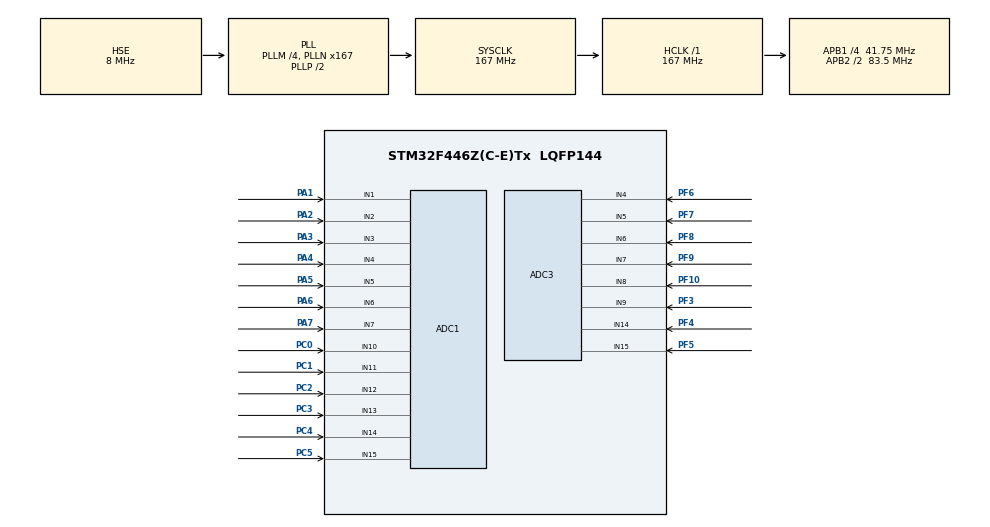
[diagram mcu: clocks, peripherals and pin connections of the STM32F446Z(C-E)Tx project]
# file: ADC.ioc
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ADC1.Channel-0\#ChannelRegularConversion=ADC_CHANNEL_10
ADC1.Channel-1\#ChannelRegularConversion=ADC_CHANNEL_11
ADC1.Channel-10\#ChannelRegularConversion=ADC_CHANNEL_7
ADC1.Channel-11\#ChannelRegularConversion=ADC_CHANNEL_14
ADC1.Channel-12\#ChannelRegularConversion=ADC_CHANNEL_15
ADC1.Channel-2\#ChannelRegularConversion=ADC_CHANNEL_12
ADC1.Channel-3\#ChannelRegularConversion=ADC_CHANNEL_13
ADC1.Channel-4\#ChannelRegularConversion=ADC_CHANNEL_1
ADC1.Channel-5\#ChannelRegularConversion=ADC_CHANNEL_2
ADC1.Channel-6\#ChannelRegularConversion=ADC_CHANNEL_3
ADC1.Channel-7\#ChannelRegularConversion=ADC_CHANNEL_4
ADC1.Channel-8\#ChannelRegularConversion=ADC_CHANNEL_5
ADC1.Channel-9\#ChannelRegularConversion=ADC_CHANNEL_6
ADC1.ContinuousConvMode=ENABLE
ADC1.NbrOfConversion=13
ADC1.NbrOfConversionFlag=1
ADC1.Rank-0\#ChannelRegularConversion=1
ADC1.Rank-1\#ChannelRegularConversion=2
ADC1.Rank-10\#ChannelRegularConversion=11
ADC1.Rank-11\#ChannelRegularConversion=12
ADC1.Rank-12\#ChannelRegularConversion=13
ADC1.Rank-2\#ChannelRegularConversion=3
ADC1.Rank-3\#ChannelRegularConversion=4
ADC1.Rank-4\#ChannelRegularConversion=5
ADC1.Rank-5\#ChannelRegularConversion=6
ADC1.Rank-6\#ChannelRegularConversion=7
ADC1.Rank-7\#ChannelRegularConversion=8
ADC1.Rank-8\#ChannelRegularConversion=9
ADC1.Rank-9\#ChannelRegularConversion=10
ADC1.SamplingTime-0\#ChannelRegularConversion=ADC_SAMPLETIME_3CYCLES
ADC1.SamplingTime-1\#ChannelRegularConversion=ADC_SAMPLETIME_3CYCLES
ADC1.SamplingTime-10\#ChannelRegularConversion=ADC_SAMPLETIME_3CYCLES
ADC1.SamplingTime-11\#ChannelRegularConversion=ADC_SAMPLETIME_3CYCLES
ADC1.SamplingTime-12\#ChannelRegularConversion=ADC_SAMPLETIME_3CYCLES
ADC1.SamplingTime-2\#ChannelRegularConversion=ADC_SAMPLETIME_3CYCLES
ADC1.SamplingTime-3\#ChannelRegularConversion=ADC_SAMPLETIME_3CYCLES
ADC1.SamplingTime-4\#ChannelRegularConversion=ADC_SAMPLETIME_3CYCLES
ADC1.SamplingTime-5\#ChannelRegularConversion=ADC_SAMPLETIME_3CYCLES
ADC1.SamplingTime-6\#ChannelRegularConversion=ADC_SAMPLETIME_3CYCLES
ADC1.SamplingTime-7\#ChannelRegularConversion=ADC_SAMPLETIME_3CYCLES
ADC1.SamplingTime-8\#ChannelRegularConversion=ADC_SAMPLETIME_3CYCLES
ADC1.SamplingTime-9\#ChannelRegularConversion=ADC_SAMPLETIME_3CYCLES
ADC1.ScanConvMode=ENABLE
ADC1.master=1
ADC3.Channel-2\#ChannelRegularConversion=ADC_CHANNEL_9
ADC3.Channel-3\#ChannelRegularConversion=ADC_CHANNEL_14
ADC3.Channel-4\#ChannelRegularConversion=ADC_CHANNEL_15
ADC3.Channel-5\#ChannelRegularConversion=ADC_CHANNEL_4
ADC3.Channel-6\#ChannelRegularConversion=ADC_CHANNEL_5
ADC3.Channel-7\#ChannelRegularConversion=ADC_CHANNEL_6
ADC3.Channel-8\#ChannelRegularConversion=ADC_CHANNEL_7
ADC3.Channel-9\#ChannelRegularConversion=ADC_CHANNEL_8
ADC3.NbrOfConversion=8
ADC3.NbrOfConversionFlag=1
ADC3.Rank-2\#ChannelRegularConversion=1
ADC3.Rank-3\#ChannelRegularConversion=2
ADC3.Rank-4\#ChannelRegularConversion=3
ADC3.Rank-5\#ChannelRegularConversion=4
ADC3.Rank-6\#ChannelRegularConversion=5
ADC3.Rank-7\#ChannelRegularConversion=6
ADC3.Rank-8\#ChannelRegularConversion=7
ADC3.Rank-9\#ChannelRegularConversion=8
ADC3.SamplingTime-2\#ChannelRegularConversion=ADC_SAMPLETIME_3CYCLES
ADC3.SamplingTime-3\#ChannelRegularConversion=ADC_SAMPLETIME_3CYCLES
ADC3.SamplingTime-4\#ChannelRegularConversion=ADC_SAMPLETIME_3CYCLES
ADC3.SamplingTime-5\#ChannelRegularConversion=ADC_SAMPLETIME_3CYCLES
ADC3.SamplingTime-6\#ChannelRegularConversion=ADC_SAMPLETIME_3CYCLES
ADC3.SamplingTime-7\#ChannelRegularConversion=ADC_SAMPLETIME_3CYCLES
ADC3.SamplingTime-8\#ChannelRegularConversion=ADC_SAMPLETIME_3CYCLES
ADC3.SamplingTime-9\#ChannelRegularConversion=ADC_SAMPLETIME_3CYCLES
Mcu.Family=STM32F4
Mcu.Name=STM32F446Z(C-E)Tx
Mcu.Package=LQFP144
NVIC.PriorityGroup=NVIC_PRIORITYGROUP_4
PA1.Signal=ADCx_IN1
PA2.Signal=ADCx_IN2
PA3.Signal=ADCx_IN3
PA4.Signal=ADCx_IN4
PA5.Signal=ADCx_IN5
PA6.Signal=ADCx_IN6
PA7.Signal=ADCx_IN7
PC0.Signal=ADCx_IN10
PC1.Signal=ADCx_IN11
PC2.Signal=ADCx_IN12
PC3.Signal=ADCx_IN13
PC4.Signal=ADCx_IN14
PC5.Signal=ADCx_IN15
PF10.Mode=IN8
PF10.Signal=ADC3_IN8
PF3.Mode=IN9
PF3.Signal=ADC3_IN9
PF4.Mode=IN14
PF4.Signal=ADC3_IN14
PF5.Mode=IN15
PF5.Signal=ADC3_IN15
PF6.Mode=IN4
PF6.Signal=ADC3_IN4
PF7.Mode=IN5
PF7.Signal=ADC3_IN5
PF8.Mode=IN6
PF8.Signal=ADC3_IN6
PF9.Mode=IN7
PF9.Signal=ADC3_IN7
PH0-OSC_IN.Mode=HSE-External-Oscillator
PH0-OSC_IN.Signal=RCC_OSC_IN
PH1-OSC_OUT.Mode=HSE-External-Oscillator
PH1-OSC_OUT.Signal=RCC_OSC_OUT
ProjectManager.HeapSize=0x200
ProjectManager.StackSize=0x400
ProjectManager.TargetToolchain=STM32CubeIDE
RCC.48MHZClocksFreq_Value=24000000
RCC.AHBFreq_Value=167000000
RCC.APB1CLKDivider=RCC_HCLK_DIV4
RCC.APB1Freq_Value=41750000
RCC.APB1TimFreq_Value=83500000
RCC.APB2CLKDivider=RCC_HCLK_DIV2
RCC.APB2Freq_Value=83500000
RCC.APB2TimFreq_Value=167000000
RCC.CortexFreq_Value=167000000
RCC.HCLKFreq_Value=167000000
RCC.HSE_VALUE=8000000
RCC.HSI_VALUE=16000000
RCC.LSE_VALUE=32768
RCC.PLLM=4
RCC.PLLMUL=RCC_PLL_MUL9
RCC.PLLN=167
RCC.PLLSourceVirtual=RCC_PLLSOURCE_HSE
RCC.PRESCALERUSB=RCC_USBCLKSOURCE_PLL_DIV1_5
RCC.SYSCLKFreq_VALUE=167000000
RCC.SYSCLKSource=RCC_SYSCLKSOURCE_PLLCLK
RCC.SYSCLKSourceVirtual=RCC_SYSCLKSOURCE_PLLCLK
RCC.USBFreq_Value=167000000
RCC.VCOOutputFreq_Value=334000000
SH.ADCx_IN1.0=ADC1_IN1,IN1
SH.ADCx_IN10.0=ADC1_IN10,IN10
SH.ADCx_IN11.0=ADC1_IN11,IN11
SH.ADCx_IN12.0=ADC1_IN12,IN12
SH.ADCx_IN13.0=ADC1_IN13,IN13
SH.ADCx_IN14.0=ADC1_IN14,IN14
SH.ADCx_IN15.0=ADC1_IN15,IN15
SH.ADCx_IN2.0=ADC1_IN2,IN2
SH.ADCx_IN3.0=ADC1_IN3,IN3
SH.ADCx_IN4.0=ADC1_IN4,IN4
SH.ADCx_IN5.0=ADC1_IN5,IN5
SH.ADCx_IN6.0=ADC1_IN6,IN6
SH.ADCx_IN7.0=ADC1_IN7,IN7
board=NUCLEO-F446ZE

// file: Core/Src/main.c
/* USER CODE BEGIN Header */
/**
  ******************************************************************************
  * @file           : main.c
  * @brief          : Main program body
  ******************************************************************************
  * @attention
  *
  * Copyright (c) 2023 STMicroelectronics.
  * All rights reserved.
  *
  * This software is licensed under terms that can be found in the LICENSE file
  * in the root directory of this software component.
  * If no LICENSE file comes with this software, it is provided AS-IS.
  *
  ******************************************************************************
  */
/* USER CODE END Header */
#include "main.h"

ADC_HandleTypeDef hadc1;
ADC_HandleTypeDef hadc3;

void SystemClock_Config(void);
static void MX_GPIO_Init(void);
static void MX_ADC1_Init(void);
static void MX_ADC3_Init(void);

/* USER CODE BEGIN 0 */
uint16_t ADC_VAL[21];
float Voltage;
void CH_Select1(void)
{
	ADC_ChannelConfTypeDef sConfig = {0};
    sConfig.Channel = ADC_CHANNEL_10;
    sConfig.Rank = 2;
    sConfig.SamplingTime = ADC_SAMPLETIME_3CYCLES;
    if (HAL_ADC_ConfigChannel(&hadc1, &sConfig) != HAL_OK)
    {
       Error_Handler();
    }
}
void CH_Select2(void)
{
	ADC_ChannelConfTypeDef sConfig = {0};
    sConfig.Channel = ADC_CHANNEL_11;
    sConfig.Rank = 2;
    sConfig.SamplingTime = ADC_SAMPLETIME_3CYCLES;
    if (HAL_ADC_ConfigChannel(&hadc1, &sConfig) != HAL_OK)
    {
       Error_Handler();
    }
}
void CH_Select3(void)
{
	ADC_ChannelConfTypeDef sConfig = {0};
    sConfig.Channel = ADC_CHANNEL_12;
    sConfig.Rank = 2;
    sConfig.SamplingTime = ADC_SAMPLETIME_3CYCLES;
    if (HAL_ADC_ConfigChannel(&hadc1, &sConfig) != HAL_OK)
    {
       Error_Handler();
    }
}
void CH_Select4(void)
{
	ADC_ChannelConfTypeDef sConfig = {0};
    sConfig.Channel = ADC_CHANNEL_13;
    sConfig.Rank = 2;
    sConfig.SamplingTime = ADC_SAMPLETIME_3CYCLES;
    if (HAL_ADC_ConfigChannel(&hadc1, &sConfig) != HAL_OK)
    {
       Error_Handler();
    }
}
void CH_Select5(void)
{
	ADC_ChannelConfTypeDef sConfig = {0};
    sConfig.Channel = ADC_CHANNEL_1;
    sConfig.Rank = 2;
    sConfig.SamplingTime = ADC_SAMPLETIME_3CYCLES;
    if (HAL_ADC_ConfigChannel(&hadc1, &sConfig) != HAL_OK)
    {
       Error_Handler();
    }
}
void CH_Select6(void)
{
	ADC_ChannelConfTypeDef sConfig = {0};
    sConfig.Channel = ADC_CHANNEL_2;
    sConfig.Rank = 2;
    sConfig.SamplingTime = ADC_SAMPLETIME_3CYCLES;
    if (HAL_ADC_ConfigChannel(&hadc1, &sConfig) != HAL_OK)
    {
       Error_Handler();
    }
}
void CH_Select7(void)
{
	ADC_ChannelConfTypeDef sConfig = {0};
    sConfig.Channel = ADC_CHANNEL_3;
    sConfig.Rank = 2;
    sConfig.SamplingTime = ADC_SAMPLETIME_3CYCLES;
    if (HAL_ADC_ConfigChannel(&hadc1, &sConfig) != HAL_OK)
    {
       Error_Handler();
    }
}
void CH_Select8(void)
{
	ADC_ChannelConfTypeDef sConfig = {0};
    sConfig.Channel = ADC_CHANNEL_4;
    sConfig.Rank = 2;
    sConfig.SamplingTime = ADC_SAMPLETIME_3CYCLES;
    if (HAL_ADC_ConfigChannel(&hadc1, &sConfig) != HAL_OK)
    {
       Error_Handler();
    }
}
void CH_Select9(void)
{
	ADC_ChannelConfTypeDef sConfig = {0};
    sConfig.Channel = ADC_CHANNEL_5;
    sConfig.Rank = 2;
    sConfig.SamplingTime = ADC_SAMPLETIME_3CYCLES;
    if (HAL_ADC_ConfigChannel(&hadc1, &sConfig) != HAL_OK)
    {
       Error_Handler();
    }
}
void CH_Select10(void)
{
	ADC_ChannelConfTypeDef sConfig = {0};
    sConfig.Channel = ADC_CHANNEL_6;
    sConfig.Rank = 2;
    sConfig.SamplingTime = ADC_SAMPLETIME_3CYCLES;
    if (HAL_ADC_ConfigChannel(&hadc1, &sConfig) != HAL_OK)
    {
       Error_Handler();
    }
}void CH_Select11(void)
{
	ADC_ChannelConfTypeDef sConfig = {0};
    sConfig.Channel = ADC_CHANNEL_7;
    sConfig.Rank = 2;
    sConfig.SamplingTime = ADC_SAMPLETIME_3CYCLES;
    if (HAL_ADC_ConfigChannel(&hadc1, &sConfig) != HAL_OK)
    {
       Error_Handler();
    }
}
void CH_Select12(void)
{
	ADC_ChannelConfTypeDef sConfig = {0};
    sConfig.Channel = ADC_CHANNEL_14;
    sConfig.Rank = 2;
    sConfig.SamplingTime = ADC_SAMPLETIME_3CYCLES;
    if (HAL_ADC_ConfigChannel(&hadc1, &sConfig) != HAL_OK)
    {
       Error_Handler();
    }
}
void CH_Select13(void)
{
	ADC_ChannelConfTypeDef sConfig = {0};
    sConfig.Channel = ADC_CHANNEL_15;
    sConfig.Rank = 2;
    sConfig.SamplingTime = ADC_SAMPLETIME_3CYCLES;
    if (HAL_ADC_ConfigChannel(&hadc1, &sConfig) != HAL_OK)
    {
       Error_Handler();
    }
}
void CH_Select14(void)
{
	ADC_ChannelConfTypeDef sConfig = {0};
    sConfig.Channel = ADC_CHANNEL_9;
    sConfig.Rank = 2;
    sConfig.SamplingTime = ADC_SAMPLETIME_3CYCLES;
    if (HAL_ADC_ConfigChannel(&hadc3, &sConfig) != HAL_OK)
    {
       Error_Handler();
    }
}
void CH_Select15(void)
{
	ADC_ChannelConfTypeDef sConfig = {0};
    sConfig.Channel = ADC_CHANNEL_14;
    sConfig.Rank = 2;
    sConfig.SamplingTime = ADC_SAMPLETIME_3CYCLES;
    if (HAL_ADC_ConfigChannel(&hadc3, &sConfig) != HAL_OK)
    {
       Error_Handler();
    }
}
void CH_Select16(void)
{
	ADC_ChannelConfTypeDef sConfig = {0};
    sConfig.Channel = ADC_CHANNEL_15;
    sConfig.Rank = 2;
    sConfig.SamplingTime = ADC_SAMPLETIME_3CYCLES;
    if (HAL_ADC_ConfigChannel(&hadc3, &sConfig) != HAL_OK)
    {
       Error_Handler();
    }
}
void CH_Select17(void)
{
	ADC_ChannelConfTypeDef sConfig = {0};
    sConfig.Channel = ADC_CHANNEL_4;
    sConfig.Rank = 2;
    sConfig.SamplingTime = ADC_SAMPLETIME_3CYCLES;
    if (HAL_ADC_ConfigChannel(&hadc3, &sConfig) != HAL_OK)
    {
       Error_Handler();
    }
}
void CH_Select18(void)
{
	ADC_ChannelConfTypeDef sConfig = {0};
    sConfig.Channel = ADC_CHANNEL_5;
    sConfig.Rank = 2;
    sConfig.SamplingTime = ADC_SAMPLETIME_3CYCLES;
    if (HAL_ADC_ConfigChannel(&hadc3, &sConfig) != HAL_OK)
    {
       Error_Handler();
    }
}
void CH_Select19(void)
{
	ADC_ChannelConfTypeDef sConfig = {0};
    sConfig.Channel = ADC_CHANNEL_6;
    sConfig.Rank = 2;
    sConfig.SamplingTime = ADC_SAMPLETIME_3CYCLES;
    if (HAL_ADC_ConfigChannel(&hadc3, &sConfig) != HAL_OK)
    {
       Error_Handler();
    }
}
void CH_Select20(void)
{
	ADC_ChannelConfTypeDef sConfig = {0};
    sConfig.Channel = ADC_CHANNEL_7;
    sConfig.Rank = 2;
    sConfig.SamplingTime = ADC_SAMPLETIME_3CYCLES;
    if (HAL_ADC_ConfigChannel(&hadc3, &sConfig) != HAL_OK)
    {
       Error_Handler();
    }
}
void CH_Select21(void)
{
	ADC_ChannelConfTypeDef sConfig = {0};
    sConfig.Channel = ADC_CHANNEL_8;
    sConfig.Rank = 2;
    sConfig.SamplingTime = ADC_SAMPLETIME_3CYCLES;
    if (HAL_ADC_ConfigChannel(&hadc3, &sConfig) != HAL_OK)
    {
       Error_Handler();
    }
}

/* USER CODE END 0 */
void channel1(void)
{
	          CH_Select1();
	          HAL_ADC_Start(&hadc1);
		 	  HAL_ADC_PollForConversion(&hadc1,10);
		 	  ADC_VAL[0]=HAL_ADC_GetValue(&hadc1);
		 	  HAL_ADC_Stop(&hadc1);
		 	  Voltage=(float)(2000*ADC_VAL[0]*3.3)/4095;
		 	  HAL_Delay(50);
}
void channel2(void)
{
	          CH_Select2();
	          HAL_ADC_Start(&hadc1);
		 	  HAL_ADC_PollForConversion(&hadc1,10);
		 	  ADC_VAL[1]=HAL_ADC_GetValue(&hadc1);
		 	  HAL_ADC_Stop(&hadc1);
		 	  Voltage=(float)(ADC_VAL[1]*3.3)/4095;
		 	  HAL_Delay(50);
}
void channel3(void)
{
	          CH_Select3();
	          HAL_ADC_Start(&hadc1);
		 	  HAL_ADC_PollForConversion(&hadc1,10);
		 	  ADC_VAL[2]=HAL_ADC_GetValue(&hadc1);
		 	  HAL_ADC_Stop(&hadc1);
		 	  Voltage=(float)(ADC_VAL[2]*3.3)/4095;
		 	  HAL_Delay(50);
}
void channel4(void)
{
	          CH_Select4();
	          HAL_ADC_Start(&hadc1);
		 	  HAL_ADC_PollForConversion(&hadc1,10);
		 	  ADC_VAL[3]=HAL_ADC_GetValue(&hadc1);
		 	  HAL_ADC_Stop(&hadc1);
		 	  Voltage=(float)(ADC_VAL[3]*3.3)/4095;
		 	  HAL_Delay(50);
}
void channel5(void)
{
	          CH_Select5();
	          HAL_ADC_Start(&hadc1);
		 	  HAL_ADC_PollForConversion(&hadc1,10);
		 	  ADC_VAL[4]=HAL_ADC_GetValue(&hadc1);
		 	  HAL_ADC_Stop(&hadc1);
		 	  Voltage=(float)(ADC_VAL[4]*3.3)/4095;
		 	  HAL_Delay(50);
}
void channel6(void)
{
	          CH_Select6();
	          HAL_ADC_Start(&hadc1);
		 	  HAL_ADC_PollForConversion(&hadc1,10);
		 	  ADC_VAL[5]=HAL_ADC_GetValue(&hadc1);
		 	  HAL_ADC_Stop(&hadc1);
		 	  Voltage=(float)(ADC_VAL[5]*3.3)/4095;
		 	  HAL_Delay(50);
}
void channel7(void)
{
	          CH_Select7();
	          HAL_ADC_Start(&hadc1);
		 	  HAL_ADC_PollForConversion(&hadc1,10);
		 	  ADC_VAL[6]=HAL_ADC_GetValue(&hadc1);
		 	  HAL_ADC_Stop(&hadc1);
		 	  Voltage=(float)(ADC_VAL[6]*3.3)/4095;
		 	  HAL_Delay(50);
}
void channel8(void)
{
	          CH_Select8();
	          HAL_ADC_Start(&hadc1);
		 	  HAL_ADC_PollForConversion(&hadc1,10);
		 	  ADC_VAL[7]=HAL_ADC_GetValue(&hadc1);
		 	  HAL_ADC_Stop(&hadc1);
		 	  Voltage=(float)(ADC_VAL[7]*3.3)/4095;
		 	  HAL_Delay(50);
}
void channel9(void)
{
	          CH_Select9();
	          HAL_ADC_Start(&hadc1);
		 	  HAL_ADC_PollForConversion(&hadc1,10);
		 	  ADC_VAL[8]=HAL_ADC_GetValue(&hadc1);
		 	  HAL_ADC_Stop(&hadc1);
		 	  Voltage=(float)(ADC_VAL[8]*3.3)/4095;
		 	  HAL_Delay(50);
}
void channel10(void)
{
	          CH_Select10();
	          HAL_ADC_Start(&hadc1);
		 	  HAL_ADC_PollForConversion(&hadc1,10);
		 	  ADC_VAL[9]=HAL_ADC_GetValue(&hadc1);
		 	  HAL_ADC_Stop(&hadc1);
		 	  Voltage=(float)(ADC_VAL[9]*3.3)/4095;
		 	  HAL_Delay(50);
}
void channel11(void)
{
	          CH_Select11();
	          HAL_ADC_Start(&hadc1);
		 	  HAL_ADC_PollForConversion(&hadc1,10);
		 	  ADC_VAL[10]=HAL_ADC_GetValue(&hadc1);
		 	  HAL_ADC_Stop(&hadc1);
		 	  Voltage=(float)(ADC_VAL[10]*3.3)/4095;
		 	  HAL_Delay(50);
}
void channel12(void)
{
	          CH_Select12();
	          HAL_ADC_Start(&hadc1);
		 	  HAL_ADC_PollForConversion(&hadc1,10);
		 	  ADC_VAL[11]=HAL_ADC_GetValue(&hadc1);
		 	  HAL_ADC_Stop(&hadc1);
		 	  Voltage=(float)(ADC_VAL[11]*3.3)/4095;
		 	  HAL_Delay(50);
}
void channel13(void)
{
	          CH_Select13();
	          HAL_ADC_Start(&hadc1);
		 	  HAL_ADC_PollForConversion(&hadc1,10);
		 	  ADC_VAL[12]=HAL_ADC_GetValue(&hadc1);
		 	  HAL_ADC_Stop(&hadc1);
		 	  Voltage=(float)(ADC_VAL[12]*3.3)/4095;
		 	  HAL_Delay(50);
}
void channel14(void)
{
	          CH_Select14();
	          HAL_ADC_Start(&hadc3);
		 	  HAL_ADC_PollForConversion(&hadc3,10);
		 	  ADC_VAL[13]=HAL_ADC_GetValue(&hadc3);
		 	  HAL_ADC_Stop(&hadc3);
		 	  Voltage=(float)(ADC_VAL[13]*3.3)/4095;
		 	  HAL_Delay(50);
}
void channel15(void)
{
	          CH_Select15();
	          HAL_ADC_Start(&hadc3);
		 	  HAL_ADC_PollForConversion(&hadc3,10);
		 	  ADC_VAL[14]=HAL_ADC_GetValue(&hadc3);
		 	  HAL_ADC_Stop(&hadc3);
		 	  Voltage=(float)(ADC_VAL[14]*3.3)/4095;
		 	  HAL_Delay(50);
}
void channel16(void)
{
	          CH_Select16();
	          HAL_ADC_Start(&hadc3);
		 	  HAL_ADC_PollForConversion(&hadc3,1000);
		 	  ADC_VAL[15]=HAL_ADC_GetValue(&hadc3);
		 	  HAL_ADC_Stop(&hadc3);
		 	  Voltage=(float)(ADC_VAL[15]*3.3)/4095;
		 	  HAL_Delay(50);
}
void channel17(void)
{
	          CH_Select17();
	          HAL_ADC_Start(&hadc3);
		 	  HAL_ADC_PollForConversion(&hadc3,10);
		 	  ADC_VAL[16]=HAL_ADC_GetValue(&hadc3);
		 	  HAL_ADC_Stop(&hadc3);
		 	  Voltage=(float)(ADC_VAL[16]*3.3)/4095;
		 	  HAL_Delay(50);
}
void channel18(void)
{
	          CH_Select18();
	          HAL_ADC_Start(&hadc3);
		 	  HAL_ADC_PollForConversion(&hadc3,10);
		 	  ADC_VAL[17]=HAL_ADC_GetValue(&hadc3);
		 	  HAL_ADC_Stop(&hadc3);
		 	  Voltage=(float)(ADC_VAL[17]*3.3)/4095;
		 	  HAL_Delay(50);
}
void channel19(void)
{
	          CH_Select19();
	          HAL_ADC_Start(&hadc3);
		 	  HAL_ADC_PollForConversion(&hadc3,10);
		 	  ADC_VAL[18]=HAL_ADC_GetValue(&hadc3);
		 	  HAL_ADC_Stop(&hadc3);
		 	  Voltage=(float)(ADC_VAL[18]*3.3)/4095;
		 	  HAL_Delay(50);
}
void channel20(void)
{
	          CH_Select20();
	          HAL_ADC_Start(&hadc3);
		 	  HAL_ADC_PollForConversion(&hadc3,10);
		 	  ADC_VAL[19]=HAL_ADC_GetValue(&hadc3);
		 	  HAL_ADC_Stop(&hadc3);
		 	  Voltage=(float)(ADC_VAL[19]*3.3)/4095;
		 	  HAL_Delay(50);
}
void channel21(void)
{
	          CH_Select21();
	          HAL_ADC_Start(&hadc3);
		 	  HAL_ADC_PollForConversion(&hadc3,10);
		 	  ADC_VAL[20]=HAL_ADC_GetValue(&hadc3);
		 	  HAL_ADC_Stop(&hadc3);
		 	  Voltage=(float)(ADC_VAL[20]*3.3)/4095;
		 	  HAL_Delay(50);
}
int main(void)
{

  /* MCU Configuration--------------------------------------------------------*/

  /* Reset of all peripherals, Initializes the Flash interface and the Systick. */
  HAL_Init();

  /* Configure the system clock */
  SystemClock_Config();

  /* Initialize all configured peripherals */
  MX_GPIO_Init();
  MX_ADC1_Init();
  MX_ADC3_Init();

  /* Infinite loop */
  while (1)
  {
	    channel1();
	  	channel2();
	  	channel3();
	  	channel4();
	  	channel5();
	  	channel6();
	  	channel7();
	  	channel8();
	  	channel9();
	  	channel10();
	  	channel11();
	  	channel12();
	  	channel13();
	  	channel14();
	  	channel15();
	  	channel16();
	  	channel17();
	  	channel18();
	  	channel19();
	  	channel20();
	  	channel21();

  }
}

void SystemClock_Config(void)
{
  RCC_OscInitTypeDef RCC_OscInitStruct = {0};
  RCC_ClkInitTypeDef RCC_ClkInitStruct = {0};

  /** Configure the main internal regulator output voltage
  */
  __HAL_RCC_PWR_CLK_ENABLE();
  __HAL_PWR_VOLTAGESCALING_CONFIG(PWR_REGULATOR_VOLTAGE_SCALE1);

  /** Initializes the RCC Oscillators according to the specified parameters
  * in the RCC_OscInitTypeDef structure.
  */
  RCC_OscInitStruct.OscillatorType = RCC_OSCILLATORTYPE_HSE;
  RCC_OscInitStruct.HSEState = RCC_HSE_ON;
  RCC_OscInitStruct.PLL.PLLState = RCC_PLL_ON;
  RCC_OscInitStruct.PLL.PLLSource = RCC_PLLSOURCE_HSE;
  RCC_OscInitStruct.PLL.PLLM = 4;
  RCC_OscInitStruct.PLL.PLLN = 167;
  RCC_OscInitStruct.PLL.PLLP = RCC_PLLP_DIV2;
  RCC_OscInitStruct.PLL.PLLQ = 2;
  RCC_OscInitStruct.PLL.PLLR = 2;
  if (HAL_RCC_OscConfig(&RCC_OscInitStruct) != HAL_OK)
  {
    Error_Handler();
  }

  /** Initializes the CPU, AHB and APB buses clocks
  */
  RCC_ClkInitStruct.ClockType = RCC_CLOCKTYPE_HCLK|RCC_CLOCKTYPE_SYSCLK
                              |RCC_CLOCKTYPE_PCLK1|RCC_CLOCKTYPE_PCLK2;
  RCC_ClkInitStruct.SYSCLKSource = RCC_SYSCLKSOURCE_PLLCLK;
  RCC_ClkInitStruct.AHBCLKDivider = RCC_SYSCLK_DIV1;
  RCC_ClkInitStruct.APB1CLKDivider = RCC_HCLK_DIV4;
  RCC_ClkInitStruct.APB2CLKDivider = RCC_HCLK_DIV2;

  if (HAL_RCC_ClockConfig(&RCC_ClkInitStruct, FLASH_LATENCY_5) != HAL_OK)
  {
    Error_Handler();
  }
}

static void MX_ADC1_Init(void)
{

//  ADC_ChannelConfTypeDef sConfig = {0};

  /** Configure the global features of the ADC (Clock, Resolution, Data Alignment and number of conversion)
  */
  hadc1.Instance = ADC1;
  hadc1.Init.ClockPrescaler = ADC_CLOCK_SYNC_PCLK_DIV4;
  hadc1.Init.Resolution = ADC_RESOLUTION_12B;
  hadc1.Init.ScanConvMode = ENABLE;
  hadc1.Init.ContinuousConvMode = ENABLE;
  hadc1.Init.DiscontinuousConvMode = DISABLE;
  hadc1.Init.ExternalTrigConvEdge = ADC_EXTERNALTRIGCONVEDGE_NONE;
  hadc1.Init.ExternalTrigConv = ADC_SOFTWARE_START;
  hadc1.Init.DataAlign = ADC_DATAALIGN_RIGHT;
  hadc1.Init.NbrOfConversion = 13;
  hadc1.Init.DMAContinuousRequests = DISABLE;
  hadc1.Init.EOCSelection = ADC_EOC_SINGLE_CONV;
  if (HAL_ADC_Init(&hadc1) != HAL_OK)
  {
    Error_Handler();
  }
}
//  /** Configure for the selected ADC regular channel its corresponding rank in the sequencer and its sample time.
//  */
//  sConfig.Channel = ADC_CHANNEL_10;
//  sConfig.Rank = 1;
//  sConfig.SamplingTime = ADC_SAMPLETIME_3CYCLES;
//  if (HAL_ADC_ConfigChannel(&hadc1, &sConfig) != HAL_OK)
//  {
//    Error_Handler();
//  }
//
//  /** Configure for the selected ADC regular channel its corresponding rank in the sequencer and its sample time.
//  */
//  sConfig.Channel = ADC_CHANNEL_11;
//  sConfig.Rank = 2;
//  if (HAL_ADC_ConfigChannel(&hadc1, &sConfig) != HAL_OK)
//  {
//    Error_Handler();
//  }
//
//  /** Configure for the selected ADC regular channel its corresponding rank in the sequencer and its sample time.
//  */
//  sConfig.Channel = ADC_CHANNEL_12;
//  sConfig.Rank = 3;
//  if (HAL_ADC_ConfigChannel(&hadc1, &sConfig) != HAL_OK)
//  {
//    Error_Handler();
//  }
//
//  /** Configure for the selected ADC regular channel its corresponding rank in the sequencer and its sample time.
//  */
//  sConfig.Channel = ADC_CHANNEL_13;
//  sConfig.Rank = 4;
//  if (HAL_ADC_ConfigChannel(&hadc1, &sConfig) != HAL_OK)
//  {
//    Error_Handler();
//  }
//
//  /** Configure for the selected ADC regular channel its corresponding rank in the sequencer and its sample time.
//  */
//  sConfig.Channel = ADC_CHANNEL_1;
//  sConfig.Rank = 5;
//  if (HAL_ADC_ConfigChannel(&hadc1, &sConfig) != HAL_OK)
//  {
//    Error_Handler();
//  }
//
//  /** Configure for the selected ADC regular channel its corresponding rank in the sequencer and its sample time.
//  */
//  sConfig.Channel = ADC_CHANNEL_2;
//  sConfig.Rank = 6;
//  if (HAL_ADC_ConfigChannel(&hadc1, &sConfig) != HAL_OK)
//  {
//    Error_Handler();
//  }
//
//  /** Configure for the selected ADC regular channel its corresponding rank in the sequencer and its sample time.
//  */
//  sConfig.Channel = ADC_CHANNEL_3;
//  sConfig.Rank = 7;
//  if (HAL_ADC_ConfigChannel(&hadc1, &sConfig) != HAL_OK)
//  {
//    Error_Handler();
//  }
//
//  /** Configure for the selected ADC regular channel its corresponding rank in the sequencer and its sample time.
//  */
//  sConfig.Channel = ADC_CHANNEL_4;
//  sConfig.Rank = 8;
//  if (HAL_ADC_ConfigChannel(&hadc1, &sConfig) != HAL_OK)
//  {
//    Error_Handler();
//  }
//
//  /** Configure for the selected ADC regular channel its corresponding rank in the sequencer and its sample time.
//  */
//  sConfig.Channel = ADC_CHANNEL_5;
//  sConfig.Rank = 9;
//  if (HAL_ADC_ConfigChannel(&hadc1, &sConfig) != HAL_OK)
//  {
//    Error_Handler();
//  }
//
//  /** Configure for the selected ADC regular channel its corresponding rank in the sequencer and its sample time.
//  */
//  sConfig.Channel = ADC_CHANNEL_6;
//  sConfig.Rank = 10;
//  if (HAL_ADC_ConfigChannel(&hadc1, &sConfig) != HAL_OK)
//  {
//    Error_Handler();
//  }
//
//  /** Configure for the selected ADC regular channel its corresponding rank in the sequencer and its sample time.
//  */
//  sConfig.Channel = ADC_CHANNEL_7;
//  sConfig.Rank = 11;
//  if (HAL_ADC_ConfigChannel(&hadc1, &sConfig) != HAL_OK)
//  {
//    Error_Handler();
//  }
//
//  /** Configure for the selected ADC regular channel its corresponding rank in the sequencer and its sample time.
//  */
//  sConfig.Channel = ADC_CHANNEL_14;
//  sConfig.Rank = 12;
//  if (HAL_ADC_ConfigChannel(&hadc1, &sConfig) != HAL_OK)
//  {
//    Error_Handler();
//  }
//
//  /** Configure for the selected ADC regular channel its corresponding rank in the sequencer and its sample time.
//  */
//  sConfig.Channel = ADC_CHANNEL_15;
//  sConfig.Rank = 13;
//  if (HAL_ADC_ConfigChannel(&hadc1, &sConfig) != HAL_OK)
//  {
//    Error_Handler();
//  }
//  /* USER CODE BEGIN ADC1_Init 2 */
//
//  /* USER CODE END ADC1_Init 2 */
//
//}

 void MX_ADC3_Init(void)
{

//  ADC_ChannelConfTypeDef sConfig = {0};

  /** Configure the global features of the ADC (Clock, Resolution, Data Alignment and number of conversion)
  */
  hadc3.Instance = ADC3;
  hadc3.Init.ClockPrescaler = ADC_CLOCK_SYNC_PCLK_DIV4;
  hadc3.Init.Resolution = ADC_RESOLUTION_12B;
  hadc3.Init.ScanConvMode = ENABLE;
  hadc3.Init.ContinuousConvMode = DISABLE;
  hadc3.Init.DiscontinuousConvMode = DISABLE;
  hadc3.Init.ExternalTrigConvEdge = ADC_EXTERNALTRIGCONVEDGE_NONE;
  hadc3.Init.ExternalTrigConv = ADC_SOFTWARE_START;
  hadc3.Init.DataAlign = ADC_DATAALIGN_RIGHT;
  hadc3.Init.NbrOfConversion = 8;
  hadc3.Init.DMAContinuousRequests = DISABLE;
  hadc3.Init.EOCSelection = ADC_EOC_SINGLE_CONV;
  if (HAL_ADC_Init(&hadc3) != HAL_OK)
  {
    Error_Handler();
  }
}
//  /** Configure for the selected ADC regular channel its corresponding rank in the sequencer and its sample time.
//  */
//  sConfig.Channel = ADC_CHANNEL_9;
//  sConfig.Rank = 1;
//  sConfig.SamplingTime = ADC_SAMPLETIME_3CYCLES;
//  if (HAL_ADC_ConfigChannel(&hadc3, &sConfig) != HAL_OK)
//  {
//    Error_Handler();
//  }
//
//  /** Configure for the selected ADC regular channel its corresponding rank in the sequencer and its sample time.
//  */
//  sConfig.Channel = ADC_CHANNEL_14;
//  sConfig.Rank = 2;
//  if (HAL_ADC_ConfigChannel(&hadc3, &sConfig) != HAL_OK)
//  {
//    Error_Handler();
//  }
//
//  /** Configure for the selected ADC regular channel its corresponding rank in the sequencer and its sample time.
//  */
//  sConfig.Channel = ADC_CHANNEL_15;
//  sConfig.Rank = 3;
//  if (HAL_ADC_ConfigChannel(&hadc3, &sConfig) != HAL_OK)
//  {
//    Error_Handler();
//  }
//
//  /** Configure for the selected ADC regular channel its corresponding rank in the sequencer and its sample time.
//  */
//  sConfig.Channel = ADC_CHANNEL_4;
//  sConfig.Rank = 4;
//  if (HAL_ADC_ConfigChannel(&hadc3, &sConfig) != HAL_OK)
//  {
//    Error_Handler();
//  }
//
//  /** Configure for the selected ADC regular channel its corresponding rank in the sequencer and its sample time.
//  */
//  sConfig.Channel = ADC_CHANNEL_5;
//  sConfig.Rank = 5;
//  if (HAL_ADC_ConfigChannel(&hadc3, &sConfig) != HAL_OK)
//  {
//    Error_Handler();
//  }
//
//  /** Configure for the selected ADC regular channel its corresponding rank in the sequencer and its sample time.
//  */
//  sConfig.Channel = ADC_CHANNEL_6;
//  sConfig.Rank = 6;
//  if (HAL_ADC_ConfigChannel(&hadc3, &sConfig) != HAL_OK)
//  {
//    Error_Handler();
//  }
//
//  /** Configure for the selected ADC regular channel its corresponding rank in the sequencer and its sample time.
//  */
//  sConfig.Channel = ADC_CHANNEL_7;
//  sConfig.Rank = 7;
//  if (HAL_ADC_ConfigChannel(&hadc3, &sConfig) != HAL_OK)
//  {
//    Error_Handler();
//  }
//
//  /** Configure for the selected ADC regular channel its corresponding rank in the sequencer and its sample time.
//  */
//  sConfig.Channel = ADC_CHANNEL_8;
//  sConfig.Rank = 8;
//  if (HAL_ADC_ConfigChannel(&hadc3, &sConfig) != HAL_OK)
//  {
//    Error_Handler();
//  }
//  /* USER CODE BEGIN ADC3_Init 2 */
//
//  /* USER CODE END ADC3_Init 2 */
//
//}

 void MX_GPIO_Init(void)
{

  /* GPIO Ports Clock Enable */
  __HAL_RCC_GPIOF_CLK_ENABLE();
  __HAL_RCC_GPIOH_CLK_ENABLE();
  __HAL_RCC_GPIOC_CLK_ENABLE();
  __HAL_RCC_GPIOA_CLK_ENABLE();

}

void Error_Handler(void)
{
  __disable_irq();
  while (1)
  {
  }
}
